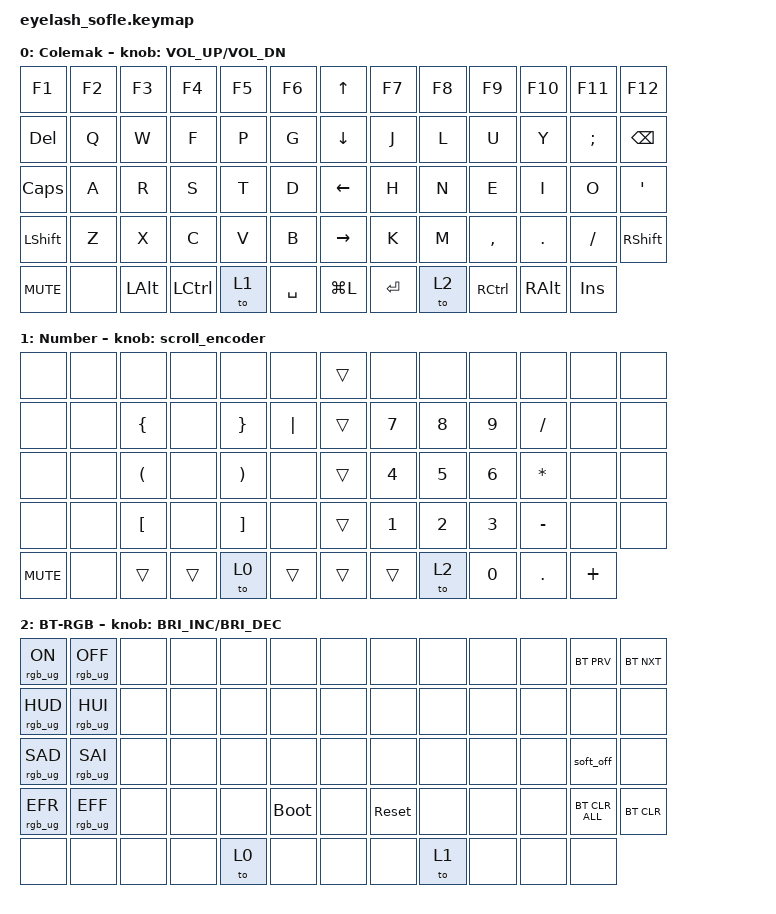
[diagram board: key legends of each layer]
#define ZMK_POINTING_DEFAULT_MOVE_VAL 1500  // default: 600
#define ZMK_POINTING_DEFAULT_SCRL_VAL 20    // default: 10

#include <dt-bindings/zmk/mouse.h>
#include <input/processors.dtsi>
#include <behaviors.dtsi>
#include <dt-bindings/zmk/bt.h>
#include <dt-bindings/zmk/keys.h>
#include <dt-bindings/zmk/pointing.h>
#include <dt-bindings/zmk/pointing.h>
#include <dt-bindings/zmk/rgb.h>

/*

   &mmv_input_listener {
       input-processors = <&zip_xy_scaler 2 1>;
   };

   &msc_input_listener {
       input-processors = <&zip_xy_scaler 2 1>;
   };

 */

#define ZMK_MOUSE_DEFAULT_MOVE_VAL 1200  // 600
#define ZMK_MOUSE_DEFAULT_SCRL_VAL 20    // 10

/ {
    behaviors {
        mmv {
            acceleration-exponent = <1>;      // 1
            time-to-max-speed-ms = <900>;    // 40
            delay-ms = <0>;                   // 0
        };

        msc {
            acceleration-exponent = <1>;      // 0
            time-to-max-speed-ms = <400>;      // 500
            delay-ms = <0>;                   //   10
        };
    };

    scroll_encoder: scroll_encoder {
        compatible = "zmk,behavior-sensor-rotate";
        #sensor-binding-cells = <0>;
        bindings = <&msc SCRL_DOWN>, <&msc SCRL_UP>;

        tap-ms = <30>;
    };

    SandS: SandS {
        compatible = "zmk,behavior-hold-tap";
        label = "SANDS";
        bindings = <&kp>, <&kp>;

        #binding-cells = <2>;
        tapping-term-ms = <200>;
        flavor = "hold-preferred";
        retro-tap;
    };

    keymap {
        compatible = "zmk,keymap";

        Colemak {
            bindings = <
&kp F1      &kp F2  &kp F3        &kp F4     &kp F5  &kp F6       &kp UP_ARROW     &kp F7     &kp F8  &kp F9     &kp F10        &kp F11   &kp F12
&kp DELETE  &kp Q   &kp W         &kp F      &kp P   &kp G        &kp DOWN_ARROW   &kp J      &kp L   &kp U      &kp Y          &kp SEMI  &kp BACKSPACE
&kp CAPS    &kp A   &kp R         &kp S      &kp T   &kp D        &kp LEFT_ARROW   &kp H      &kp N   &kp E      &kp I          &kp O     &kp APOS
&kp LSHFT   &kp Z   &kp X         &kp C      &kp V   &kp B        &kp RIGHT_ARROW  &kp K      &kp M   &kp COMMA  &kp DOT        &kp FSLH  &kp RIGHT_SHIFT
&kp C_MUTE  &none   &kp LEFT_ALT  &kp LCTRL  &to 1   &kp SPACE    &kp LG(L)        &kp ENTER  &to 2   &kp RCTRL  &kp RIGHT_ALT  &kp INS
            >;

            sensor-bindings = <&inc_dec_kp C_VOLUME_UP C_VOL_DN>;
            display-name = "Colemak";
 };

        Number {
            bindings = <
&none       &none  &none                 &none   &none                  &none       &trans  &none   &none   &none   &none         &none     &none
&none       &none  &kp LEFT_BRACE        &none   &kp RIGHT_BRACE        &kp PIPE    &trans  &kp N7  &kp N8  &kp N9  &kp SLASH     &none     &none
&none       &none  &kp LEFT_PARENTHESIS  &none   &kp RIGHT_PARENTHESIS  &none       &trans  &kp N4  &kp N5  &kp N6  &kp ASTERISK  &none     &none
&none       &none  &kp LEFT_BRACKET      &none   &kp RIGHT_BRACKET      &none       &trans  &kp N1  &kp N2  &kp N3  &kp MINUS     &none     &none
&kp C_MUTE  &none  &trans                &trans  &to 0                  &trans      &trans  &trans  &to 2   &kp N0  &kp DOT       &kp PLUS
            >;

            display-name = "Number";
            sensor-bindings = <&scroll_encoder>;
        };

        BT {
            bindings = <
&rgb_ug RGB_ON   &rgb_ug RGB_OFF  &none  &none  &none  &none          &none  &none       &none  &none  &none  &bt BT_PRV      &bt BT_NXT
&rgb_ug RGB_HUD  &rgb_ug RGB_HUI  &none  &none  &none  &none          &none  &none       &none  &none  &none  &none           &none
&rgb_ug RGB_SAD  &rgb_ug RGB_SAI  &none  &none  &none  &none          &none  &none       &none  &none  &none  &soft_off       &none
&rgb_ug RGB_EFR  &rgb_ug RGB_EFF  &none  &none  &none  &bootloader    &none  &sys_reset  &none  &none  &none  &bt BT_CLR_ALL  &bt BT_CLR
&none            &none            &none  &none  &to 0  &none          &none  &none       &to 1  &none  &none  &none
            >;

display-name = "BT-RGB";
            sensor-bindings = <&inc_dec_kp C_BRI_INC C_BRI_DEC>;
        };
        };

    };
};

